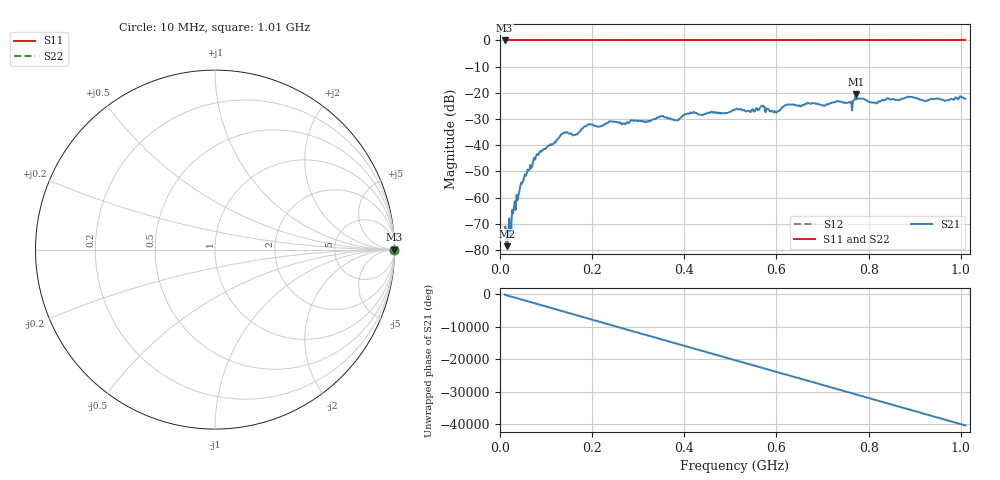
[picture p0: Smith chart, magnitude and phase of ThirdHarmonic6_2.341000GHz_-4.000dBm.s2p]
! 8/17/2025 3:27:28 AM
! C:\ANRITSUVNA\TEMP\TEMP.S2P
! CHANNEL.1
! TR.MEASUREMENT
! RAW.DATA
! RF.CORRECTION.OFF
! AVERAGING.OFF
! IF.BANDWIDTH: 5KHZ
! SWEEPTYPE:  FREQ.SWEEP(Linear)
! Reference Plane Port Info
! PORT:  PORT1  PORT2
! DISTANCE:  0  m  0  m
! TIME:  0  s  0  s
! PHASE.OFFSET:  0  deg.  0  deg.
! LOSS:  0  dB  0  dB
! REF.LOSS:  0  dB  0  dB
! REF.FREQ:  0  Hz  0  Hz
! Power Info
! POWER:  -20  dBm  -20  dBm
! EFF.POWER:  -20  dBm  -20  dBm
! SOURCE.ATTEN:  0  dB  0  dB
! TEST.ATTEN:  0  dB  0  dB
# GHZ S RI R 50.0
! FREQ.GHZ  S11RE  S11IM  S21RE  S21IM  S12RE  S12IM  S22RE  S22IM
!; PortSelection: Port_12
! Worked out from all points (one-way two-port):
!   501 points, 10 MHz to 1.01 GHz, reference 50 ohm
!   highest |S21| = -20.43 dB at 772 MHz (marker M1); lowest = -78.5 dB at 16 MHz (marker M2)
!   lowest |S11| = 0.0 dB at 10 MHz (marker M3)
!   |S11| at or under -10 dB: nowhere
!   |S22| runs from 0.0 to 0.0 dB; largest |S21 - S12| = 1.1
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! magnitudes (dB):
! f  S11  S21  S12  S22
! 10 MHz  0.0  -71.2  0.0  0.0
! 16 MHz  0.0  -78.5  0.0  0.0
! 20 MHz  0.0  -67.9  0.0  0.0
! 30 MHz  0.0  -64.2  0.0  0.0
! 48 MHz  0.0  -54.7  0.0  0.0
! 76 MHz  0.0  -45.5  0.0  0.0
! 136 MHz  0.0  -35.6  0.0  0.0
! 162 MHz  0.0  -36.0  0.0  0.0
! 178 MHz  0.0  -33.7  0.0  0.0
! 344 MHz  0.0  -29.5  0.0  0.0
! 384 MHz  0.0  -30.5  0.0  0.0
! 416 MHz  0.0  -27.7  0.0  0.0
! 510 MHz  0.0  -26.4  0.0  0.0
! 570 MHz  0.0  -24.9  0.0  0.0
! 598 MHz  0.0  -27.4  0.0  0.0
! 622 MHz  0.0  -24.6  0.0  0.0
! 678 MHz  0.0  -23.8  0.0  0.0
! 760 MHz  0.0  -23.6  0.0  0.0
! 772 MHz  0.0  -20.4  0.0  0.0
! 814 MHz  0.0  -23.7  0.0  0.0
! 844 MHz  0.0  -22.2  0.0  0.0
! 1.01 GHz  0.0  -22.3  0.0  0.0
